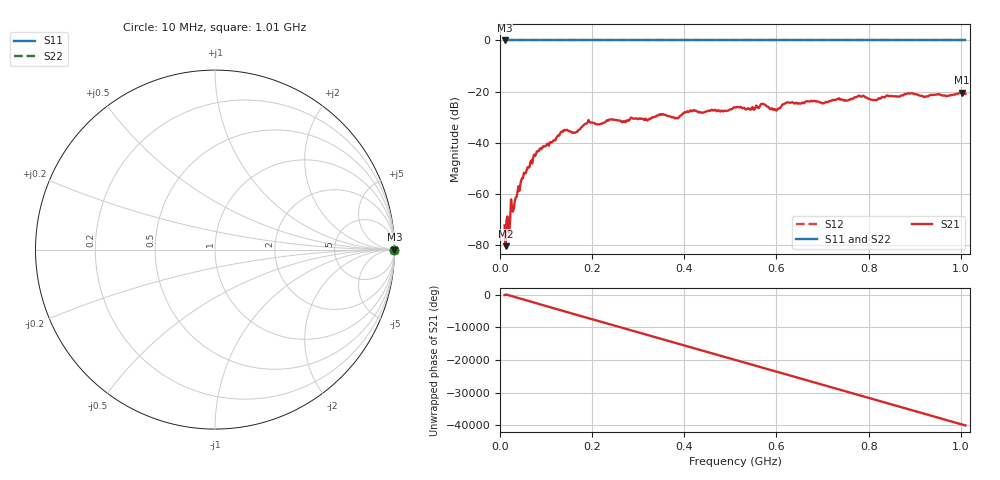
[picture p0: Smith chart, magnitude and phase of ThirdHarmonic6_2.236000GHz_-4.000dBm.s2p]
! 8/17/2025 2:34:48 AM
! C:\ANRITSUVNA\TEMP\TEMP.S2P
! CHANNEL.1
! TR.MEASUREMENT
! RAW.DATA
! RF.CORRECTION.OFF
! AVERAGING.OFF
! IF.BANDWIDTH: 5KHZ
! SWEEPTYPE:  FREQ.SWEEP(Linear)
! Reference Plane Port Info
! PORT:  PORT1  PORT2
! DISTANCE:  0  m  0  m
! TIME:  0  s  0  s
! PHASE.OFFSET:  0  deg.  0  deg.
! LOSS:  0  dB  0  dB
! REF.LOSS:  0  dB  0  dB
! REF.FREQ:  0  Hz  0  Hz
! Power Info
! POWER:  -20  dBm  -20  dBm
! EFF.POWER:  -20  dBm  -20  dBm
! SOURCE.ATTEN:  0  dB  0  dB
! TEST.ATTEN:  0  dB  0  dB
# GHZ S RI R 50.0
! FREQ.GHZ  S11RE  S11IM  S21RE  S21IM  S12RE  S12IM  S22RE  S22IM
!; PortSelection: Port_12
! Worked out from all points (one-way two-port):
!   501 points, 10 MHz to 1.01 GHz, reference 50 ohm
!   highest |S21| = -20.41 dB at 1.002 GHz (marker M1); lowest = -80.6 dB at 12 MHz (marker M2)
!   lowest |S11| = 0.0 dB at 10 MHz (marker M3)
!   |S11| at or under -10 dB: nowhere
!   |S22| runs from 0.0 to 0.0 dB; largest |S21 - S12| = 1.1
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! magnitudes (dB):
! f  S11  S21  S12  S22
! 10 MHz  0.0  -72.5  0.0  0.0
! 12 MHz  0.0  -80.6  0.0  0.0
! 16 MHz  0.0  -68.9  0.0  0.0
! 28 MHz  0.0  -67.1  0.0  0.0
! 50 MHz  0.0  -53.9  0.0  0.0
! 78 MHz  0.0  -44.7  0.0  0.0
! 136 MHz  0.0  -35.9  0.0  0.0
! 162 MHz  0.0  -36.2  0.0  0.0
! 178 MHz  0.0  -33.8  0.0  0.0
! 194 MHz  0.0  -32.0  0.0  0.0
! 322 MHz  0.0  -30.9  0.0  0.0
! 344 MHz  0.0  -29.4  0.0  0.0
! 384 MHz  0.0  -30.3  0.0  0.0
! 416 MHz  0.0  -27.7  0.0  0.0
! 510 MHz  0.0  -26.2  0.0  0.0
! 570 MHz  0.0  -24.9  0.0  0.0
! 596 MHz  0.0  -26.9  0.0  0.0
! 622 MHz  0.0  -24.3  0.0  0.0
! 678 MHz  0.0  -23.9  0.0  0.0
! 844 MHz  0.0  -21.8  0.0  0.0
! 1.002 GHz  0.0  -20.4  0.0  0.0
! 1.01 GHz  0.0  -20.9  0.0  0.0
